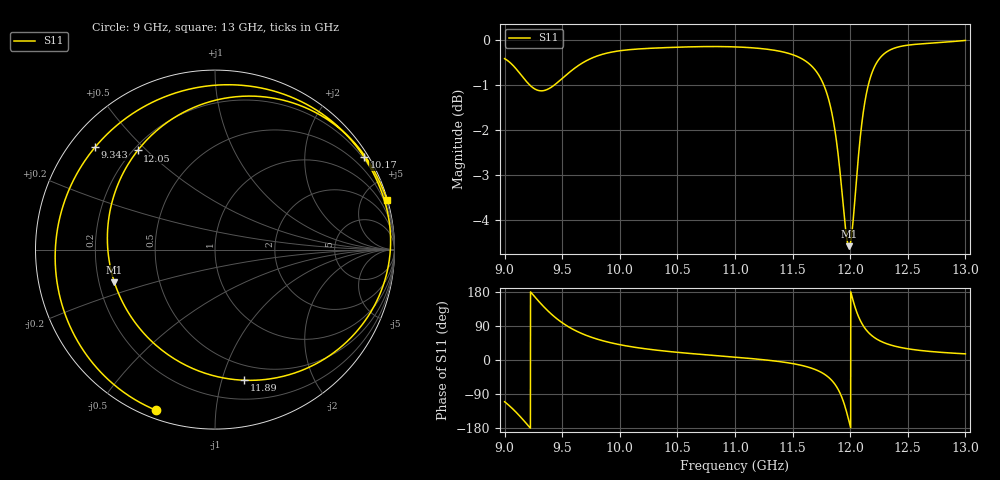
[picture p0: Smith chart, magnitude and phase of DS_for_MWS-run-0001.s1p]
! TOUCHSTONE file generated by CST DESIGN STUDIO
! Date and time: Wed Feb  5 13:19:29 2025
! Project name: C:\Work\MatlabApps\UnitCellOptimizationMatlab\CST\unitcell.cst
! Tree item: Tasks\Sweep1\SPara1\S-Parameters
! Header version: 2024
! Port assignment regex: !\s*Touchstone port\s*([0-9]+)\s*=\s*(CST MWS port|CST DES external port|CST DES block port)\s*(.+)\s* \(\"(.*)\"\)(\s*mode\s*([0-9]+))?.*
! Touchstone port assignment:
! Touchstone port 1 = CST DES external port 1 ("")
# GHz S MA R 50
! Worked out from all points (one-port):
!   4001 points, 9 GHz to 13 GHz, reference 50 ohm
!   lowest |S11| = -4.6 dB at 11.99 GHz (marker M1), VSWR 3.87, Z = 13.2 - j7.37 ohm
!   |S11| at or under -10 dB: nowhere
!   S11 on the Smith chart (normalised r, x): 9 GHz: 0.04, -0.70; 9.343 GHz: 0.07, +0.37; 10.17 GHz: 0.15, +3.51; 11.89 GHz: 0.36, -1.19; 12.05 GHz: 0.22, +0.47; 13 GHz: 0.03, +7.02
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9  0.9534 -110.1
9.088  0.9325 -134.2
9.187  0.8999 -166.9
9.26  0.8824 167.3
9.343  0.8785 139.6
9.418  0.8883 117.8
9.5  0.9061 98.3
9.724  0.9504 63.2
10  0.9728 40.4
10.171  0.9775 31.7
10.5  0.9817 20.3
11  0.9825 7.5
11.5  0.9632 -9.4
11.654  0.9384 -20.5
11.757  0.8993 -34.0
11.832  0.8395 -51.3
11.895  0.7463 -77.3
11.944  0.6451 -112.3
11.99  0.5894 -162.0
12  0.5929 -174.1
12.026  0.6305 155.9
12.055  0.7005 127.9
12.086  0.7763 105.3
12.12  0.8418 87.2
12.225  0.9412 56.2
12.336  0.9734 41.0
12.5  0.9869 29.6
13  0.9989 16.2
